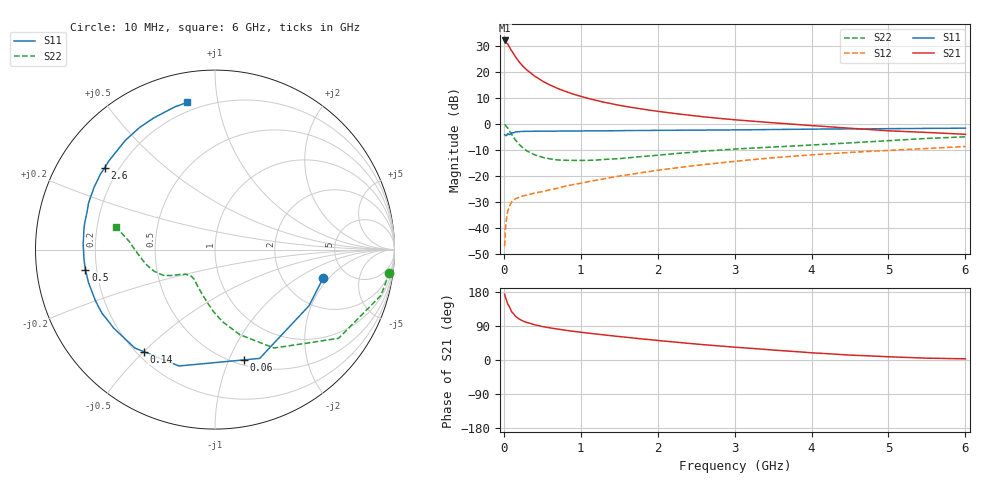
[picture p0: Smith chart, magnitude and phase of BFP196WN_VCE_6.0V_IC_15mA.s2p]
! Infineon Technologies  Discrete & RF Semiconductors
! BFP196WN
! VCE =  6.0 V,  IC =  15 mA
! Common Emitter S-Parameters:  Jan 2017
# GHz  S  MA  R  50
!  f  S11  S21  S12  S22
! GHz  MAG  ANG  MAG  ANG  MAG  ANG  MAG  ANG
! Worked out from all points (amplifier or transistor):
!   77 points, 10 MHz to 6 GHz, reference 50 ohm
!   highest |S21| = 32.3 dB at 10 MHz (marker M1)
!   |S21| within 3 dB of that: start of sweep to 81.4 MHz
!   unconditionally stable (mu >= 1): 1.001 GHz to 2.675 GHz
!   at 130 MHz: K = 0.26, MSG = 28.1 dB, |S12| = -29.3 dB
!   at 2.2 GHz: K = 1.04, MAG = 9.4 dB, |S12| = -17.1 dB
!   at 6 GHz: K = 0.87, MSG = 2.4 dB, |S12| = -8.7 dB
!   S11 on the Smith chart (normalised r, x): 10 MHz: 3.36, -1.73; 60 MHz: 0.55, -1.13; 140 MHz: 0.23, -0.50; 500 MHz: 0.16, -0.08; 2.6 GHz: 0.15, +0.33; 6 GHz: 0.15, +0.82
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0.01  0.6233 -14.6  41.15 173.8  0.0044 85.3  0.9801 -7.5
0.02  0.6103 -30.8  39.3 166.0  0.0091 76.2  0.9594 -15.4
0.05  0.6553 -67.7  35.34 147.8  0.0209 62.1  0.8475 -35.7
0.06  0.6349 -75.5  33.23 144.7  0.0229 58.2  0.7971 -39.3
0.1  0.6787 -107.2  26.17 127.5  0.0315 47.8  0.6396 -59.0
0.14  0.6936 -125.0  21.15 118.6  0.0352 41.8  0.52 -70.1
0.15  0.7074 -129.2  20 115.7  0.0362 40.5  0.4941 -73.7
0.2  0.7139 -142.1  15.8 108.0  0.0385 38.4  0.4042 -84.0
0.25  0.7226 -150.7  13.01 102.7  0.0412 37.0  0.3462 -91.3
0.3  0.7246 -156.9  11.03 98.8  0.0425 37.1  0.3027 -97.5
0.4  0.7285 -165.6  8.43 92.8  0.0466 39.3  0.2555 -106.7
0.5  0.7305 -171.2  6.788 88.4  0.0497 41.9  0.2294 -114.2
0.7  0.7321 -179.3  4.875 81.6  0.0578 47.9  0.2031 -123.7
0.9  0.7353 174.7  3.798 75.8  0.0677 51.8  0.199 -129.9
1.1  0.7401 169.9  3.121 70.9  0.0775 55.0  0.1997 -134.4
1.5  0.746 161.9  2.307 61.9  0.0991 58.1  0.2155 -140.7
2.1  0.7583 151.4  1.69 49.7  0.1341 60.0  0.259 -146.9
2.6  0.7651 143.3  1.381 40.4  0.1655 58.9  0.3007 -151.3
3.1  0.7745 135.5  1.18 32.4  0.1969 56.7  0.3356 -156.3
4.1  0.8006 120.4  0.914 17.9  0.2602 50.2  0.4017 -170.3
5.1  0.8178 108.9  0.731 7.8  0.3156 42.8  0.4882 173.7
6  0.8349 100.6  0.635 3.1  0.3694 36.5  0.5675 167.0
